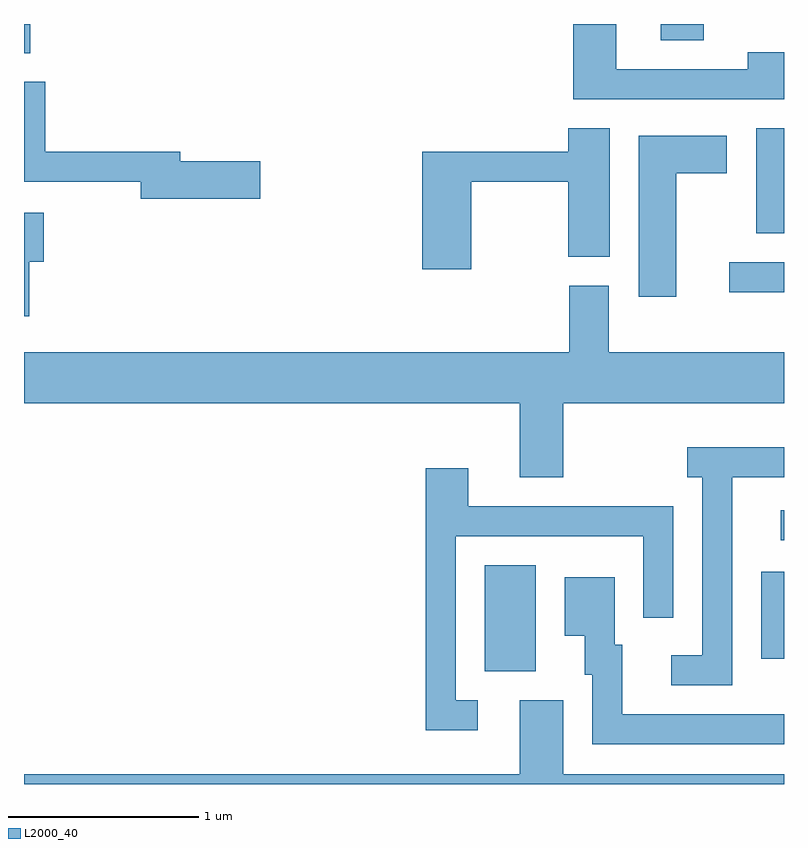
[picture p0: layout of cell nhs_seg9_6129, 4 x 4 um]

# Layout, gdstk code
import gdstk
lib = gdstk.Library(unit=1e-6, precision=1e-09)
def R(c, l, rs):  # rectangles x0, y0, x1, y1
    for r in rs: c.add(gdstk.rectangle(r[:2], r[2:], *l))
def P(c, l, *ps):  # polygons
    for p in ps: c.add(gdstk.Polygon(p, *l))
L2000_40 = (2000, 40)

nhs_seg9_6129 = lib.new_cell('nhs_seg9_6129')
R(nhs_seg9_6129, L2000_40, [(368.036,2037.026,368.304,2037.584), (369.491,2037.091,369.611,2037.549), (369.593,2037.716,369.611,2037.874), (369.323,2039.021,369.611,2039.179), (369.466,2039.331,369.611,2039.884), (365.611,2040.278,365.644,2040.432), (368.961,2040.346,369.189,2040.432)])
P(nhs_seg9_6129, L2000_40, [(369.611,2040.284),(369.421,2040.284),(369.421,2040.194),(368.729,2040.194),(368.729,2040.432),(368.501,2040.432),(368.501,2040.036),(369.611,2040.036)],
  [(366.854,2039.709),(366.434,2039.709),(366.434,2039.759),(365.724,2039.759),(365.724,2040.129),(365.611,2040.129),(365.611,2039.601),(366.226,2039.601),(366.226,2039.511),(366.854,2039.511)],
  [(367.964,2039.601),(368.476,2039.601),(368.476,2039.206),(368.694,2039.206),(368.694,2039.884),(368.476,2039.884),(368.476,2039.759),(367.706,2039.759),(367.706,2039.141),(367.964,2039.141)],
  [(369.044,2039.646),(369.309,2039.646),(369.309,2039.844),(368.846,2039.844),(368.846,2038.996),(369.044,2038.996)],
  [(365.639,2039.181),(365.714,2039.181),(365.714,2039.439),(365.611,2039.439),(365.611,2038.893),(365.639,2038.893)],
  [(369.611,2038.704),(368.689,2038.704),(368.689,2039.054),(368.481,2039.054),(368.481,2038.704),(365.611,2038.704),(365.611,2038.436),(368.221,2038.436),(368.221,2038.046),(368.449,2038.046),(368.449,2038.436),(369.611,2038.436)],
  [(369.339,2038.046),(369.611,2038.046),(369.611,2038.204),(369.103,2038.204),(369.103,2038.046),(369.181,2038.046),(369.181,2037.109),(369.018,2037.109),(369.018,2036.951),(369.339,2036.951)],
  [(367.998,2036.874),(367.884,2036.874),(367.884,2037.736),(368.871,2037.736),(368.871,2037.308),(369.029,2037.308),(369.029,2037.894),(367.949,2037.894),(367.949,2038.094),(367.726,2038.094),(367.726,2036.716),(367.998,2036.716)],
  [(369.611,2036.799),(368.759,2036.799),(368.759,2037.164),(368.719,2037.164),(368.719,2037.519),(368.456,2037.519),(368.456,2037.211),(368.561,2037.211),(368.561,2037.006),(368.601,2037.006),(368.601,2036.641),(369.611,2036.641)],
  [(369.611,2036.484),(368.449,2036.484),(368.449,2036.874),(368.221,2036.874),(368.221,2036.484),(365.611,2036.484),(365.611,2036.432),(369.611,2036.432)])

lib.write_gds('nhs_seg9_6129.gds')
